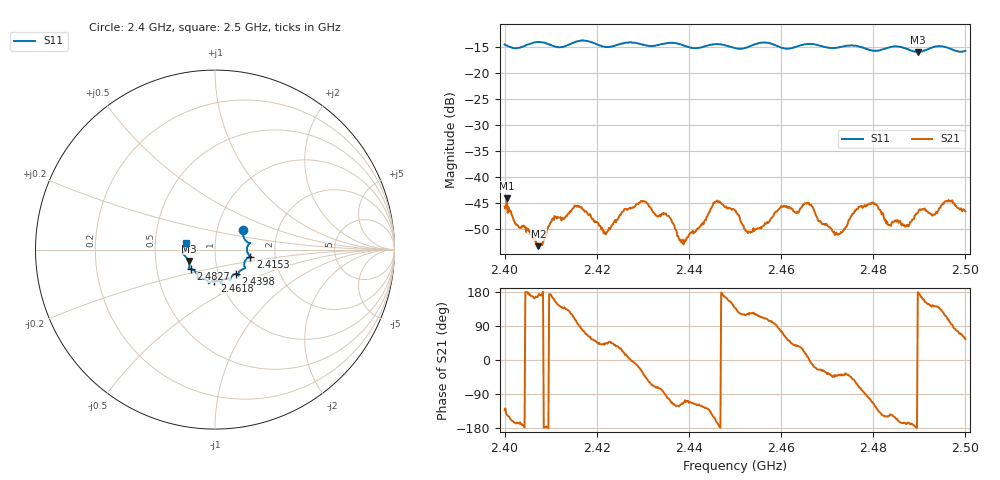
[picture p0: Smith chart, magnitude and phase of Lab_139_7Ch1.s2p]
# Hz S RI R 50
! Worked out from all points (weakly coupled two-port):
!   601 points, 2.4 GHz to 2.5 GHz, reference 50 ohm
!   highest |S21| = -44.12 dB at 2.4005 GHz (marker M1); lowest = -53.3 dB at 2.4073 GHz (marker M2)
!   lowest |S11| = -15.9 dB at 2.4897 GHz (marker M3), VSWR 1.38, Z = 36.9 - j4.84 ohm
!   |S11| at or under -10 dB: start of sweep to end of sweep
!   S12 and S22 are empty: the file has one direction only
!   S11 on the Smith chart (normalised r, x): 2.4 GHz: 1.33, +0.29; 2.4153 GHz: 1.48, -0.12; 2.4398 GHz: 1.21, -0.34; 2.4618 GHz: 0.94, -0.33; 2.4827 GHz: 0.75, -0.17; 2.5 GHz: 0.72, +0.06
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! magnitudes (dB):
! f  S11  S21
! 2.4 GHz  -14.5  -45.7
! 2.4005 GHz  -14.7  -44.1
! 2.4073 GHz  -14.0  -53.3
! 2.4105 GHz  -14.7  -48.0
! 2.4153 GHz  -14.0  -45.5
! 2.4167 GHz  -13.7  -45.8
! 2.4218 GHz  -14.9  -51.0
! 2.4297 GHz  -14.4  -44.6
! 2.4333 GHz  -14.6  -47.7
! 2.4398 GHz  -15.0  -51.6
! 2.4458 GHz  -14.4  -44.8
! 2.45 GHz  -15.2  -46.4
! 2.4532 GHz  -14.8  -50.6
! 2.4618 GHz  -15.3  -45.9
! 2.4667 GHz  -14.4  -45.7
! 2.4722 GHz  -15.1  -51.0
! 2.4793 GHz  -15.6  -45.2
! 2.4827 GHz  -15.2  -48.2
! 2.4833 GHz  -15.0  -49.3
! 2.4897 GHz  -15.9  -46.9
! 2.4963 GHz  -15.1  -44.4
! 2.5 GHz  -15.7  -46.7
